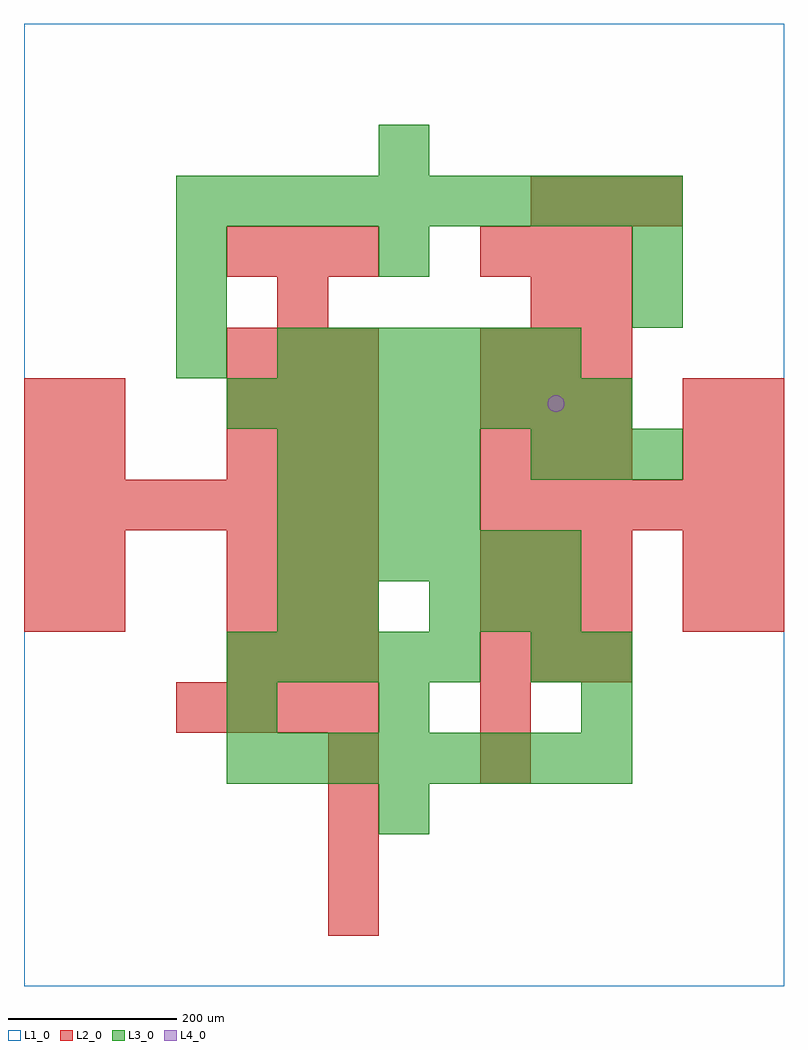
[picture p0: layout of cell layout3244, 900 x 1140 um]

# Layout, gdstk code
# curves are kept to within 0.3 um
import gdstk
lib = gdstk.Library(unit=1e-6, precision=1e-09)
def R(c, l, rs):  # rectangles x0, y0, x1, y1
    for r in rs: c.add(gdstk.rectangle(r[:2], r[2:], *l))
def A(c, l, x, y, w, h, nx, ny, dx, dy):  # array of equal rectangles
    R(c, l, [(x+i*dx, y+j*dy, x+i*dx+w, y+j*dy+h) for i in range(nx) for j in range(ny)])
def P(c, l, *ps):  # polygons
    for p in ps: c.add(gdstk.Polygon(p, *l))
L1_0 = (1, 0)
L2_0 = (2, 0)
L3_0 = (3, 0)
L4_0 = (4, 0)

layout3244 = lib.new_cell('layout3244')
R(layout3244, L1_0, [(0,0,900,1140)])
A(layout3244, L2_0, 360, 60, 60, 60, 1, 4, 0, 60)
A(layout3244, L2_0, 180, 300, 60, 60, 4, 1, 60, 0)
A(layout3244, L2_0, 240, 360, 60, 60, 3, 3, 60, 60)
A(layout3244, L2_0, 540, 360, 60, 60, 3, 3, 60, 60)
A(layout3244, L2_0, 0, 540, 60, 60, 7, 1, 60, 0)
A(layout3244, L2_0, 540, 540, 60, 60, 6, 1, 60, 0)
A(layout3244, L2_0, 240, 600, 60, 60, 3, 3, 60, 60)
A(layout3244, L2_0, 540, 600, 60, 60, 3, 3, 60, 60)
A(layout3244, L2_0, 240, 840, 60, 60, 3, 1, 60, 0)
A(layout3244, L2_0, 540, 840, 60, 60, 3, 1, 60, 0)
A(layout3244, L2_0, 600, 900, 60, 60, 3, 1, 60, 0)
R(layout3244, L2_0, [(540,240,600,300), (540,300,600,360), (0,420,60,480), (60,420,120,480), (780,420,840,480), (840,420,900,480), (0,480,60,540), (60,480,120,540), (780,480,840,540), (840,480,900,540), (0,600,60,660), (60,600,120,660), (780,600,840,660), (840,600,900,660), (0,660,60,720), (60,660,120,720), (780,660,840,720), (840,660,900,720), (300,780,360,840), (600,780,660,840), (660,780,720,840)])
A(layout3244, L3_0, 240, 240, 60, 60, 8, 2, 60, 420)
A(layout3244, L3_0, 240, 360, 60, 60, 5, 1, 60, 0)
A(layout3244, L3_0, 480, 420, 60, 60, 3, 1, 60, 0)
A(layout3244, L3_0, 300, 480, 60, 60, 6, 2, 60, 240)
A(layout3244, L3_0, 300, 540, 60, 60, 4, 2, 60, 60)
A(layout3244, L3_0, 600, 600, 60, 60, 3, 1, 60, 0)
A(layout3244, L3_0, 180, 720, 60, 60, 1, 3, 0, 60)
A(layout3244, L3_0, 180, 900, 60, 60, 10, 1, 60, 0)
R(layout3244, L3_0, [(420,180,480,240), (240,300,300,360), (420,300,480,360), (660,300,720,360), (600,360,660,420), (660,360,720,420), (300,420,360,480), (360,420,420,480), (720,780,780,840), (420,840,480,900), (720,840,780,900), (420,960,480,1020)])
P(layout3244, L4_0, [(640,690),(639.239,693.827),(637.071,697.071),(633.827,699.239),(630,700),(626.173,699.239),(622.929,697.071),(620.761,693.827),(620,690),(620.761,686.173),(622.929,682.929),(626.173,680.761),(630,680),(633.827,680.761),(637.071,682.929),(639.239,686.173)])

lib.write_gds('layout3244.gds')
